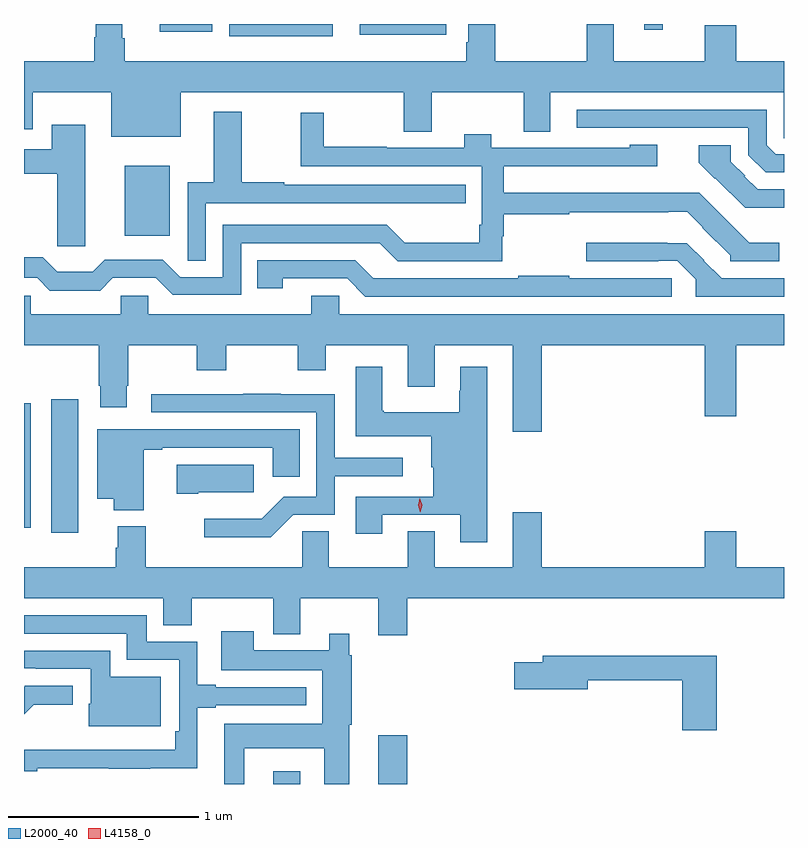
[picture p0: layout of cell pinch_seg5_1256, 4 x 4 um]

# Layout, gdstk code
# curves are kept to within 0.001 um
import gdstk
lib = gdstk.Library(unit=1e-6, precision=1e-09)
def R(c, l, rs):  # rectangles x0, y0, x1, y1
    for r in rs: c.add(gdstk.rectangle(r[:2], r[2:], *l))
def P(c, l, *ps):  # polygons
    for p in ps: c.add(gdstk.Polygon(p, *l))
L2000_40 = (2000, 40)
L4158_0 = (4158, 0)

pinch_seg5_1256 = lib.new_cell('pinch_seg5_1256')
R(pinch_seg5_1256, L2000_40, [(486.413,858.447,486.553,858.514), (486.965,858.447,487.118,858.703), (485.243,859.77,485.386,860.473), (485.1,859.797,485.136,860.451), (485.63,861.332,485.866,861.7), (486.18,862.382,486.724,862.447), (486.867,862.391,487.323,862.447), (485.814,862.406,486.09,862.447), (488.364,862.416,488.463,862.447)])
P(pinch_seg5_1256, L2000_40, [(485.63,862.371),(485.617,862.371),(485.617,862.447),(485.477,862.447),(485.477,862.376),(485.47,862.376),(485.47,862.252),(485.1,862.252),(485.1,861.894),(485.146,861.894),(485.146,862.088),(485.558,862.088),(485.558,861.854),(485.926,861.854),(485.926,862.088),(487.099,862.088),(487.099,861.88),(487.246,861.88),(487.246,862.088),(487.73,862.088),(487.73,861.88),(487.87,861.88),(487.87,862.088),(489.099,862.088),(489.099,861.847),(489.1,861.847),(489.1,862.252),(488.848,862.252),(488.848,862.441),(488.684,862.441),(488.684,862.252),(488.203,862.252),(488.203,862.447),(488.063,862.447),(488.063,862.252),(487.579,862.252),(487.579,862.447),(487.439,862.447),(487.439,862.35),(487.427,862.35),(487.427,862.252),(485.63,862.252)],
  [(489.1,861.762),(489.057,861.762),(489.009,861.81),(489.009,861.996),(488.01,861.996),(488.01,861.9),(488.913,861.9),(488.913,861.756),(489.003,861.666),(489.1,861.666)],
  [(486.057,861.504),(487.111,861.504),(487.111,861.503),(487.424,861.503),(487.424,861.6),(486.47,861.6),(486.47,861.613),(486.246,861.613),(486.246,861.985),(486.098,861.985),(486.098,861.613),(485.961,861.613),(485.961,861.202),(486.057,861.202)],
  [(486.243,861.294),(486.972,861.294),(487.068,861.198),(487.618,861.198),(487.618,861.33),(487.625,861.33),(487.625,861.445),(487.97,861.445),(487.97,861.455),(488.492,861.455),(488.492,861.459),(488.592,861.459),(488.673,861.378),(488.67,861.375),(488.816,861.229),(488.816,861.198),(489.074,861.198),(489.074,861.296),(488.917,861.296),(488.654,861.559),(487.625,861.559),(487.625,861.698),(488.434,861.698),(488.434,861.811),(488.289,861.811),(488.289,861.795),(487.558,861.795),(487.558,861.868),(487.418,861.868),(487.418,861.795),(487.01,861.795),(487.01,861.8),(486.677,861.8),(486.677,861.979),(486.556,861.979),(486.556,861.699),(487.509,861.699),(487.509,861.391),(487.497,861.391),(487.497,861.296),(487.103,861.296),(487.008,861.39),(486.147,861.39),(486.147,861.114),(485.922,861.114),(485.831,861.205),(485.524,861.205),(485.463,861.144),(485.274,861.144),(485.199,861.219),(485.1,861.219),(485.1,861.111),(485.169,861.111),(485.236,861.044),(485.501,861.044),(485.568,861.111),(485.793,861.111),(485.883,861.021),(486.243,861.021)],
  [(485.422,861.916),(485.246,861.916),(485.246,861.787),(485.1,861.787),(485.1,861.658),(485.275,861.658),(485.275,861.276),(485.422,861.276)],
  [(489.1,861.576),(488.961,861.576),(488.892,861.645),(488.895,861.648),(488.82,861.723),(488.82,861.81),(488.652,861.81),(488.652,861.717),(488.736,861.633),(488.739,861.636),(488.895,861.48),(489.1,861.479)],
  [(489.1,861.108),(488.772,861.108),(488.677,861.202),(488.679,861.204),(488.589,861.294),(488.058,861.295),(488.058,861.198),(488.438,861.198),(488.438,861.201),(488.538,861.201),(488.636,861.104),(488.636,861.012),(489.1,861.012)],
  [(488.509,861.108),(487.97,861.108),(487.97,861.121),(487.702,861.121),(487.702,861.108),(486.939,861.108),(486.843,861.204),(486.328,861.204),(486.328,861.057),(486.462,861.057),(486.462,861.108),(486.801,861.108),(486.897,861.012),(488.509,861.012)],
  [(486.759,861.018),(486.613,861.018),(486.613,860.92),(485.754,860.92),(485.754,861.018),(485.609,861.018),(485.609,860.92),(485.135,860.92),(485.135,861.018),(485.1,861.018),(485.1,860.756),(485.494,860.756),(485.494,860.542),(485.501,860.542),(485.501,860.43),(485.641,860.43),(485.641,860.542),(485.649,860.542),(485.649,860.756),(486.01,860.756),(486.01,860.625),(486.165,860.625),(486.165,860.756),(486.541,860.756),(486.541,860.625),(486.688,860.625),(486.688,860.756),(487.121,860.756),(487.121,860.538),(487.261,860.538),(487.261,860.756),(487.673,860.756),(487.673,860.301),(487.826,860.301),(487.826,860.756),(488.684,860.756),(488.684,860.382),(488.848,860.382),(488.848,860.756),(489.1,860.756),(489.1,860.92),(486.759,860.92)],
  [(487.537,860.644),(487.397,860.644),(487.397,860.516),(487.39,860.516),(487.39,860.404),(486.993,860.404),(486.993,860.412),(486.985,860.412),(486.985,860.644),(486.845,860.644),(486.845,860.276),(487.244,860.276),(487.244,860.115),(487.253,860.115),(487.253,859.959),(486.845,859.959),(486.845,859.764),(486.985,859.764),(486.985,859.863),(487.397,859.863),(487.397,859.719),(487.537,859.719)],
  [(486.516,859.863),(486.735,859.863),(486.735,860.067),(487.093,860.067),(487.093,860.163),(486.735,860.163),(486.735,860.499),(486.452,860.499),(486.452,860.502),(486.253,860.502),(486.253,860.499),(485.769,860.499),(485.769,860.403),(486.639,860.403),(486.639,859.959),(486.468,859.959),(486.352,859.843),(486.048,859.843),(486.048,859.745),(486.398,859.745)],
  [(485.731,860.205),(485.827,860.205),(485.827,860.217),(486.41,860.217),(486.41,860.064),(486.55,860.064),(486.55,860.313),(485.486,860.313),(485.486,859.949),(485.573,859.949),(485.573,859.888),(485.731,859.888)],
  [(486.016,859.982),(486.31,859.982),(486.31,860.128),(485.904,860.128),(485.904,859.975),(486.016,859.975)],
  [(487.118,859.424),(489.1,859.424),(489.1,859.588),(488.848,859.588),(488.848,859.777),(488.684,859.777),(488.684,859.588),(487.826,859.588),(487.826,859.876),(487.673,859.876),(487.673,859.588),(487.261,859.588),(487.261,859.778),(487.121,859.778),(487.121,859.588),(486.703,859.588),(486.703,859.778),(486.564,859.778),(486.564,859.588),(485.742,859.588),(485.742,859.803),(485.594,859.803),(485.594,859.691),(485.582,859.691),(485.582,859.588),(485.1,859.588),(485.1,859.424),(485.834,859.424),(485.834,859.282),(485.982,859.282),(485.982,859.424),(486.413,859.424),(486.413,859.235),(486.553,859.235),(486.553,859.424),(486.965,859.424),(486.965,859.23),(487.118,859.23)],
  [(485.169,858.531),(485.545,858.531),(485.545,858.526),(485.765,858.526),(485.765,858.531),(486.013,858.531),(486.013,858.849),(486.109,858.849),(486.109,858.861),(486.586,858.861),(486.586,858.957),(486.109,858.957),(486.109,858.97),(486.012,858.97),(486.012,859.197),(485.746,859.197),(485.746,859.335),(485.1,859.335),(485.1,859.239),(485.642,859.239),(485.642,859.101),(485.916,859.101),(485.916,858.724),(485.897,858.724),(485.897,858.627),(485.269,858.627),(485.269,858.628),(485.1,858.628),(485.1,858.513),(485.169,858.513)],
  [(486.259,858.635),(486.679,858.635),(486.679,858.447),(486.811,858.447),(486.811,858.759),(486.824,858.759),(486.824,859.124),(486.811,859.124),(486.811,859.237),(486.707,859.237),(486.707,859.15),(486.31,859.15),(486.31,859.252),(486.137,859.252),(486.137,859.046),(486.671,859.046),(486.671,858.763),(486.155,858.763),(486.155,858.447),(486.259,858.447)],
  [(485.821,859.012),(485.554,859.012),(485.554,859.149),(485.1,859.149),(485.1,859.056),(485.161,859.056),(485.161,859.053),(485.45,859.053),(485.45,858.87),(485.441,858.87),(485.441,858.752),(485.821,858.752)],
  [(488.747,859.123),(487.829,859.123),(487.829,859.089),(487.68,859.089),(487.68,858.947),(488.068,858.947),(488.068,858.994),(488.564,858.994),(488.564,858.729),(488.747,858.729)],
  [(485.15,858.865),(485.356,858.865),(485.356,858.963),(485.105,858.963),(485.1,858.958),(485.1,858.814)])
P(pinch_seg5_1256, L4158_0, [(487.186,859.878),(487.186,859.878),(487.175,859.914),(487.183,859.95),(487.184,859.951),(487.184,859.95),(487.195,859.915),(487.186,859.878)])

lib.write_gds('pinch_seg5_1256.gds')
